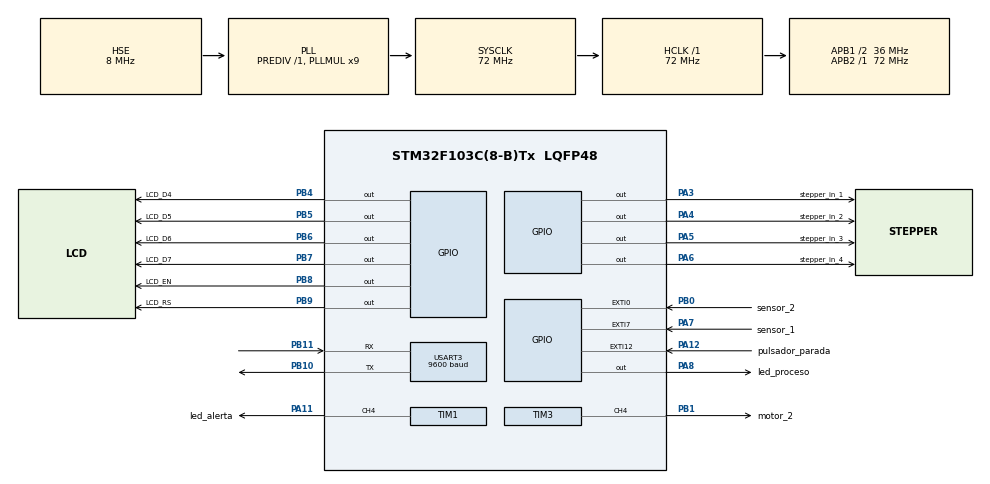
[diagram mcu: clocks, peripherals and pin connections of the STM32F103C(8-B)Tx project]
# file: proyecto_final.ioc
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Mcu.Family=STM32F1
Mcu.Name=STM32F103C(8-B)Tx
Mcu.Package=LQFP48
NVIC.EXTI0_IRQn=true\:0\:0\:false\:false\:true\:true\:true\:true
NVIC.EXTI15_10_IRQn=true\:0\:0\:false\:false\:true\:true\:true\:true
NVIC.EXTI9_5_IRQn=true\:1\:0\:true\:false\:true\:true\:true\:true
NVIC.PriorityGroup=NVIC_PRIORITYGROUP_4
NVIC.TIM2_IRQn=true\:2\:0\:true\:false\:true\:true\:true\:true
NVIC.USART3_IRQn=true\:3\:0\:true\:false\:true\:true\:true\:true
PA11.GPIO_Label=led_alerta
PA11.Signal=S_TIM1_CH4
PA12.GPIO_Label=pulsador_parada
PA12.GPIO_ModeDefaultEXTI=GPIO_MODE_IT_RISING
PA12.GPIO_PuPd=GPIO_PULLDOWN
PA12.Signal=GPXTI12
PA13.Mode=Serial_Wire
PA13.Signal=SYS_JTMS-SWDIO
PA14.Mode=Serial_Wire
PA14.Signal=SYS_JTCK-SWCLK
PA3.GPIO_Label=stepper_in_1
PA3.Signal=GPIO_Output
PA4.GPIO_Label=stepper_in_2
PA4.Signal=GPIO_Output
PA5.GPIO_Label=stepper_in_3
PA5.Signal=GPIO_Output
PA6.GPIO_Label=stepper_in_4
PA6.Signal=GPIO_Output
PA7.GPIO_Label=sensor_1
PA7.GPIO_ModeDefaultEXTI=GPIO_MODE_IT_FALLING
PA7.GPIO_PuPd=GPIO_PULLUP
PA7.Signal=GPXTI7
PA8.GPIO_Label=led_proceso
PA8.Signal=GPIO_Output
PB0.GPIO_Label=sensor_2
PB0.GPIO_ModeDefaultEXTI=GPIO_MODE_IT_FALLING
PB0.GPIO_PuPd=GPIO_PULLUP
PB0.Signal=GPXTI0
PB1.GPIO_Label=motor_2
PB1.Signal=S_TIM3_CH4
PB10.Mode=Asynchronous
PB10.Signal=USART3_TX
PB11.Mode=Asynchronous
PB11.Signal=USART3_RX
PB4.GPIO_Label=LCD_D4
PB4.Signal=GPIO_Output
PB5.GPIO_Label=LCD_D5
PB5.Signal=GPIO_Output
PB6.GPIO_Label=LCD_D6
PB6.Signal=GPIO_Output
PB7.GPIO_Label=LCD_D7
PB7.Signal=GPIO_Output
PB8.GPIO_Label=LCD_EN
PB8.Signal=GPIO_Output
PB9.GPIO_Label=LCD_RS
PB9.Signal=GPIO_Output
PD0-OSC_IN.Mode=HSE-External-Oscillator
PD0-OSC_IN.Signal=RCC_OSC_IN
PD1-OSC_OUT.Mode=HSE-External-Oscillator
PD1-OSC_OUT.Signal=RCC_OSC_OUT
ProjectManager.HeapSize=0x200
ProjectManager.StackSize=0x400
ProjectManager.TargetToolchain=STM32CubeIDE
RCC.AHBFreq_Value=72000000
RCC.APB1CLKDivider=RCC_HCLK_DIV2
RCC.APB1Freq_Value=36000000
RCC.APB1TimFreq_Value=72000000
RCC.APB2Freq_Value=72000000
RCC.APB2TimFreq_Value=72000000
RCC.HCLKFreq_Value=72000000
RCC.PLLMUL=RCC_PLL_MUL9
RCC.PLLSourceVirtual=RCC_PLLSOURCE_HSE
RCC.SYSCLKFreq_VALUE=72000000
RCC.SYSCLKSource=RCC_SYSCLKSOURCE_PLLCLK
RCC.USBFreq_Value=72000000
SH.S_TIM1_CH4.0=TIM1_CH4,PWM Generation4 CH4
SH.S_TIM3_CH4.0=TIM3_CH4,PWM Generation4 CH4
TIM1.Channel-PWM\ Generation4\ CH4=TIM_CHANNEL_4
TIM1.Period=2000
TIM1.Prescaler=36000
TIM1.Pulse-PWM\ Generation4\ CH4=1000
TIM2.AutoReloadPreload=TIM_AUTORELOAD_PRELOAD_ENABLE
TIM2.Period=240
TIM2.Prescaler=3000
TIM3.Channel-PWM\ Generation4\ CH4=TIM_CHANNEL_4
TIM3.Period=65454
TIM3.Prescaler=22
USART3.BaudRate=9600
USART3.VirtualMode=VM_ASYNC
VP_TIM1_VS_ClockSourceINT.Mode=Internal
VP_TIM2_VS_ClockSourceINT.Mode=Internal
VP_TIM3_VS_ClockSourceINT.Mode=Internal
board=custom

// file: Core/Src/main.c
/* USER CODE BEGIN Header */
/**
 ******************************************************************************
 * @file           : main.c
 * @brief          : Main program body
 ******************************************************************************
 * @attention
 *
 * Copyright (c) 2024 STMicroelectronics.
 * All rights reserved.
 *
 * This software is licensed under terms that can be found in the LICENSE file
 * in the root directory of this software component.
 * If no LICENSE file comes with this software, it is provided AS-IS.
 *
 ******************************************************************************
 */
/* USER CODE END Header */
#include "main.h"
#include "tim.h"
#include "usart.h"
#include "gpio.h"

/* USER CODE BEGIN Includes */
#include "stdio.h"
#include "string.h"

#include "../../ECUAL/LCD16x2/LCD16x2.h"
#include "../../ECUAL/INT_TO_STR/INT_TO_STR.h"

#include "../../menu/menu.h"
#include "../../stepper/stepper.h"
/* USER CODE END Includes */

/* USER CODE BEGIN PV */

// ==========================================================
// Variables para UART
uint8_t RX_char = 0x00;
//\033[%dm %3d\033[m
uint8_t MSG_cajaD[] =
		"\n\033[0;31mCAJA DETECTADA:\033[0m Inicio del proceso de derivacion\r\n";

uint8_t MSG_cajaP[] =
		"\nCAJA PROCESADA: Caja detectada en el segundo sensor\r\n";
uint8_t MSG_cajaEC[] =
		"\nCAJA EN COLA: Nueva caja detectada durante el proceso\r\n";

uint8_t MSG_pulsadorP[] =
		"\nSISTEMA DETENIDO: Se pulso el interruptor de parada\r\n";

uint8_t MSG_sisMarcha[] =
		"\nEl sistema se encuentra procesando una caja, aguarde a que termine\r\n";
uint8_t MSG_opcIncorrecta[] = "\nOpcion incorrecta \r\n";

// ==========================================================
// Variables para el sistema
uint16_t contador_cajas = 0;
int pulso_stepper = 0;

uint16_t pulsos_proceso = 0;
uint16_t pulsos_caja_cola = 0;

const uint16_t PULSOS_XM = 1086;
const uint8_t D_SENSORES = 2;

// ESTADOS
// ==========================================================
enum sistema {
	detenido, pendiente, en_proceso, caja_procesada
} estado_sistema;

// ==========================================================
// Determinamos las frecuencias de los pulsos segun la configuracion del timer
// PSC = 3000
// ARR de 240 -> f = 100Hz
// ARR de 120 -> f = 200Hz
// ARR de 80 -> f = 300Hz
enum estado_motor_1 {
	parado = 0, v_baja = 240, v_media = 120, v_alta = 80
} motor_1;

// ==========================================================
// Estado del motor_2
enum estado_motor_2 {
	desviando = 4350, sin_desviar = 2625
} motor_2;

// ==========================================================
// Estado de las cajas (cola de cajas)
enum estado_cajas {
	cola_vacia, caja_en_cola
} cola_de_cajas;

// ==========================================================
// Para determinar la seleccion del usuario
enum opciones {
	none, por_iniciar, mover_barrera, baja = 100, media = 200, alta = 300
} seleccion_usuario;

/* USER CODE END PV */

void SystemClock_Config(void);

int main(void) {

	/* MCU Configuration--------------------------------------------------------*/

	/* Reset of all peripherals, Initializes the Flash interface and the Systick. */
	HAL_Init();

	/* Configure the system clock */
	SystemClock_Config();

	/* Initialize all configured peripherals */
	MX_GPIO_Init();
	MX_TIM2_Init();
	MX_TIM1_Init();
	MX_TIM3_Init();
	MX_USART3_UART_Init();
	/* USER CODE BEGIN 2 */

	// ==========================================================
	// ==========================================================
	// Inicio del LCD
	LCD_Init();
	LCD_Clear();
	LCD_msg("Cajas procesadas", 1, 0);
//	LCD_msg("0",2,0);

	// ==========================================================
	// Para evitar el salto a PeriodElapsedCallback al iniciar los temporizadores con IT
//	TIM1->SR &= ~TIM_SR_UIF_Msk;

	// ==========================================================
	// Variables de estado iniciales
	estado_sistema = detenido;
	cola_de_cajas = cola_vacia;
	motor_1 = parado;
	motor_2 = sin_desviar;
	seleccion_usuario = none;

	// Estado de la compuerta (motor_2 inicialmente sin desviar)
	TIM3->CCR1 = motor_2;
	// Podria venir por flash

	// ==========================================================
	// Lanzamos el menu por UART
	menu_seleccion(0, 0);
	// Activamos las interrupciones para recibir por UART
	HAL_UART_Receive_IT(&huart3, &RX_char, 1);

	/* USER CODE END 2 */

	/* Infinite loop */
	while (1) {

	}
}

void SystemClock_Config(void) {
	RCC_OscInitTypeDef RCC_OscInitStruct = { 0 };
	RCC_ClkInitTypeDef RCC_ClkInitStruct = { 0 };

	/** Initializes the RCC Oscillators according to the specified parameters
	 * in the RCC_OscInitTypeDef structure.
	 */
	RCC_OscInitStruct.OscillatorType = RCC_OSCILLATORTYPE_HSE;
	RCC_OscInitStruct.HSEState = RCC_HSE_ON;
	RCC_OscInitStruct.HSEPredivValue = RCC_HSE_PREDIV_DIV1;
	RCC_OscInitStruct.HSIState = RCC_HSI_ON;
	RCC_OscInitStruct.PLL.PLLState = RCC_PLL_ON;
	RCC_OscInitStruct.PLL.PLLSource = RCC_PLLSOURCE_HSE;
	RCC_OscInitStruct.PLL.PLLMUL = RCC_PLL_MUL9;
	if (HAL_RCC_OscConfig(&RCC_OscInitStruct) != HAL_OK) {
		Error_Handler();
	}

	/** Initializes the CPU, AHB and APB buses clocks
	 */
	RCC_ClkInitStruct.ClockType = RCC_CLOCKTYPE_HCLK | RCC_CLOCKTYPE_SYSCLK
			| RCC_CLOCKTYPE_PCLK1 | RCC_CLOCKTYPE_PCLK2;
	RCC_ClkInitStruct.SYSCLKSource = RCC_SYSCLKSOURCE_PLLCLK;
	RCC_ClkInitStruct.AHBCLKDivider = RCC_SYSCLK_DIV1;
	RCC_ClkInitStruct.APB1CLKDivider = RCC_HCLK_DIV2;
	RCC_ClkInitStruct.APB2CLKDivider = RCC_HCLK_DIV1;

	if (HAL_RCC_ClockConfig(&RCC_ClkInitStruct, FLASH_LATENCY_2) != HAL_OK) {
		Error_Handler();
	}
}

/* USER CODE BEGIN 4 */

// &&&&&&&&&&&&&&&&&&&&&&&&&&&&&&&&&&&&&&&&&&&&&&&&&&&&&&&&&&&&
// &&&&&&&&&&&&&&&&&& EXTI CALLBACKS &&&&&&&&&&&&&&&&&&&&&&&&&&
// &&&&&&&&&&&&&&&&&&&&&&&&&&&&&&&&&&&&&&&&&&&&&&&&&&&&&&&&&&&&
void HAL_GPIO_EXTI_Callback(uint16_t GPIO_Pin) {
	UNUSED(GPIO_Pin);

	// ==========================================================
	// SENSOR 1
	// Se detecta una caja, pero se tiene en cuenta que quizas se este procesando
	// una caja en ese momento
	if (GPIO_Pin == sensor_1_Pin) {

		// Se detecto una caja, entonces se inicia el proceso de desviacion
		if (estado_sistema == pendiente) {
			estado_sistema = en_proceso;

			// Se inicia el contador de pulsos
			pulsos_proceso = 0;

			// Se indica con el led de proceso
			HAL_GPIO_WritePin(led_proceso_GPIO_Port, led_proceso_Pin, 1);

			// Se transmite por UART
			HAL_UART_Transmit(&huart3, MSG_cajaD, sizeof(MSG_cajaD), 100);

		}

		// En el caso de que una caja se este procesando, entonces se coloca
		// una caja en cola
		if (estado_sistema == en_proceso && motor_2 == desviando
				&& pulsos_proceso > (int) PULSOS_XM / 10) {
			cola_de_cajas = caja_en_cola;
		}

	}

	// ==========================================================
	// SENSOR 2
	// La caja fue derivada/procesada correctamente
	if (GPIO_Pin == sensor_2_Pin && estado_sistema == en_proceso
			&& motor_2 == desviando) {
		estado_sistema = caja_procesada;
		contador_cajas++;

		// Cambio del numero de cajas procesadas
		LCD_msg("", 2, 0);
		char aux[12];
		int_to_str((int) contador_cajas, aux);
		LCD_msg(aux, 2, 0);

		// Se comunica a traves de uart
		HAL_UART_Transmit(&huart3, MSG_cajaP, sizeof(MSG_cajaP), 100);

	}

	// ==========================================================
	// PULSADOR DE PARADA
	// Se usa para interrumpir y detener al sistema
	if (GPIO_Pin == pulsador_parada_Pin && estado_sistema != detenido) {
		estado_sistema = detenido;
		seleccion_usuario = none;

		// Detenemos motor_1 y motor_2
		HAL_TIM_Base_Stop_IT(&htim2);
		stop_stepper();
		HAL_TIM_PWM_Stop(&htim3, TIM_CHANNEL_4);

		// Mostramos menu de inicio
		HAL_UART_Transmit(&huart3, MSG_pulsadorP, sizeof(MSG_pulsadorP), 100);
		menu_seleccion(0, 0);
	}

}
// ---------------------------------------------------------------------------------------
// &&&&&&&&&&&&&&&&&&&&&&&&&&&&&&&&&&&&&&&&&&&&&&&&&&&&&&&&&&&&&&&&&
// &&&&&&&&&&&&&& PeriodElapsed CALLBACKS &&&&&&&&&&&&&&&&&&&&&&&&&&
// &&&&&&&&&&&&&&&&&&&&&&&&&&&&&&&&&&&&&&&&&&&&&&&&&&&&&&&&&&&&&&&&&
void HAL_TIM_PeriodElapsedCallback(TIM_HandleTypeDef *htim) {
	UNUSED(htim);

	// ==========================================================
	// Movimiento de motor_1
	if (htim == &htim2) {

		init_stepper(pulso_stepper, (int) 1);

		// El pulso del stepper toma valores entre 0 y 3
		pulso_stepper++;
		if (pulso_stepper >= 4) {
			pulso_stepper = 0;
		}

		if (estado_sistema == en_proceso || estado_sistema == caja_procesada
				|| cola_de_cajas == caja_en_cola) {

			pulsos_proceso++;
			// Segundo contador de pulsos para la caja en cola
			if (cola_de_cajas == caja_en_cola) {
				pulsos_caja_cola++;
			}

			// Movimiento de motor_2 a la mitad del trayecto
			if ((pulsos_proceso >= (uint16_t) ((PULSOS_XM * D_SENSORES) / 2))
					&& estado_sistema == en_proceso) {

				motor_2 = desviando;
				TIM3->CCR4 = motor_2;
			}

			// ~~~~~~~~~~~~~~~~~~~~~~~~~~~~~~~~~~~~~~~~~~~~~~
			// La caja deberia haber alcanzado el segundo sensor
			if (pulsos_proceso >= (PULSOS_XM * D_SENSORES)) {

				// En caso de no haber detectado la segunda caja
				//  -> Se enciende el led de alerta
				//	-> Se para motor_1
				// 	-> Se avisa por sistema
				if (estado_sistema != caja_procesada) {
					estado_sistema = detenido;
					seleccion_usuario = none;

					// Se posiciona nuevamente y motor_2
					motor_2 = desviando;
					TIM2->CCR4 = motor_2;

					// Se detiene motor_1 y motor_2
					HAL_TIM_Base_Stop_IT(&htim2);
					stop_stepper();
					HAL_TIM_PWM_Stop(&htim3, TIM_CHANNEL_4);

					// Se enciende el led de alerta y apaga el de proceso
					HAL_TIM_PWM_Start(&htim1, TIM_CHANNEL_4);
					HAL_GPIO_WritePin(led_proceso_GPIO_Port, led_proceso_Pin,
							0);

					// Se reinicia el menu por UART
					menu_seleccion(4, 0);
					return;
				}

				// Si habia una caja en cola, entonces movemos la cantidad de pulsos
				// contados de la caja en cola al proceso general
				if (cola_de_cajas == caja_en_cola) {
					cola_de_cajas = cola_vacia;
					estado_sistema = en_proceso;

					pulsos_proceso = pulsos_caja_cola;
					pulsos_caja_cola = 0;
					return;
				}

				// Finalmente si era una sola caja y fue procesada,
				// se coloca la barrera nuevamente a sin_desviar
				motor_2 = sin_desviar;
				TIM3->CCR4 = motor_2;

				// Se apaga el led de proceso
				HAL_GPIO_WritePin(led_proceso_GPIO_Port, led_proceso_Pin, 0);

				// Y se cambia al estado pendiente
				estado_sistema = pendiente;

			}
		}

	}

}
// ---------------------------------------------------------------------------------------

// &&&&&&&&&&&&&&&&&&&&&&&&&&&&&&&&&&&&&&&&&&&&&&&&&&&&&&&&&&&&
// &&&&&&&&&&&&&&&&&& UART CALLBACK &&&&&&&&&&&&&&&&&&&&&&&&&&
// &&&&&&&&&&&&&&&&&&&&&&&&&&&&&&&&&&&&&&&&&&&&&&&&&&&&&&&&&&&&
void HAL_UART_RxCpltCallback(UART_HandleTypeDef *huart) {
	UNUSED(huart);

	// ==========================================================
	// El sistema esta detenido, las opciones que se manejan son
	// 1. Iniciar
	// 2. Cambiar posicion de barrera
	if (seleccion_usuario == none && estado_sistema == detenido) {

		// Si esta encendido el led de alerta lo apagamos
		if (htim1.ChannelState[3] == HAL_TIM_CHANNEL_STATE_BUSY) {
			HAL_TIM_PWM_Stop(&htim1, TIM_CHANNEL_4);
		}

		if (RX_char == '1') {
			seleccion_usuario = por_iniciar;
			menu_seleccion(1, 0);
		} else if (RX_char == '2') {
			seleccion_usuario = mover_barrera;
			menu_seleccion(2, 0);
		} else {
			HAL_UART_Transmit(&huart3, MSG_opcIncorrecta,
					sizeof(MSG_opcIncorrecta), 100);
		}

		RX_char = 0x00;
		HAL_UART_Receive_IT(&huart3, &RX_char, 1);
		return;
	}

	// ==========================================================
	// El usuario va a seleccionar una velocidad de inicio / Se inicia el sistema
	if (seleccion_usuario == por_iniciar) {
		if (RX_char == '1') {
			seleccion_usuario = baja;
			motor_1 = v_baja;
		} else if (RX_char == '2') {
			seleccion_usuario = media;
			motor_1 = v_media;
		} else if (RX_char == '3') {
			seleccion_usuario = alta;
			motor_1 = v_alta;
		} else {
			HAL_UART_Transmit(&huart3, MSG_opcIncorrecta,
					sizeof(MSG_opcIncorrecta), 100);

			RX_char = 0x00;
			HAL_UART_Receive_IT(&huart3, &RX_char, 1);
			return;
		}

		// Menu -> sistema en marcha
		menu_seleccion(3, 0);
		// Set de estados
		estado_sistema = pendiente;

		// Iniciamos motor_1 y motor_2
		TIM2->ARR = motor_1;
		if (htim2.State != HAL_TIM_STATE_BUSY)
			HAL_TIM_Base_Start_IT(&htim2);
		HAL_TIM_PWM_Start(&htim3, TIM_CHANNEL_4);

		RX_char = 0x00;
		HAL_UART_Receive_IT(&huart3, &RX_char, 1);
		return;

	}

	// ==========================================================
	// Con el sistema en marcha solo se pueden hacer dos cosas, siempre
	// y cuando el sistema se encuentre en estado de pendiente
	// 0. Detener el sistema
	// 1. Cambiar velocidad
	if (estado_sistema == pendiente) {

		if (RX_char == '0') {
			estado_sistema = detenido;
			motor_1 = parado;
			seleccion_usuario = none;

			// Paramos a motor_1 y motor_2
			HAL_TIM_Base_Stop_IT(&htim2);
			stop_stepper();
			HAL_TIM_PWM_Stop(&htim3, TIM_CHANNEL_4);

			// Mostramos menu de inicio
			menu_seleccion(0, 0);

		} else if (RX_char == '1') {
			seleccion_usuario = por_iniciar;
			menu_seleccion(1, (int) seleccion_usuario);

		} else {
			HAL_UART_Transmit(&huart3, MSG_opcIncorrecta,
					sizeof(MSG_opcIncorrecta), 100);
		}

		RX_char = 0x00;
		HAL_UART_Receive_IT(&huart3, &RX_char, 1);
		return;

	} else if (estado_sistema != pendiente && estado_sistema != detenido) {
		// El sistema esta en marcha pero procesando una caja, entonces
		// hay que esperar a que el proceso termine
		HAL_UART_Transmit(&huart3, MSG_sisMarcha, sizeof(MSG_sisMarcha), 100);

		RX_char = 0x00;
		HAL_UART_Receive_IT(&huart3, &RX_char, 1);
		return;
	}

	// ==========================================================
	// Con el sistema detenido, el usuario puede decidir la posicion inicial
	// de la barrera
	// 1. Desviando
	// 2. Sin desviar
	if (seleccion_usuario == mover_barrera && estado_sistema == detenido) {

		if (RX_char == '1') {
			motor_2 = desviando;
		} else if (RX_char == '2') {
			motor_2 = sin_desviar;
		} else {
			HAL_UART_Transmit(&huart3, MSG_opcIncorrecta,
					sizeof(MSG_opcIncorrecta), 100);

			RX_char = 0x00;
			HAL_UART_Receive_IT(&huart3, &RX_char, 1);
			return;
		}

		// Posicionamos la barrera
		TIM3->CCR4 = motor_2;
		HAL_TIM_PWM_Start(&htim3, TIM_CHANNEL_4);

		// Seteamos menu y estado de seleccion
		seleccion_usuario = none;
		menu_seleccion(0, 0);

		RX_char = 0x00;
		HAL_UART_Receive_IT(&huart3, &RX_char, 1);
		return;
	}

	RX_char = 0x00;
	HAL_UART_Receive_IT(&huart3, &RX_char, 1);
	return;

}

/* USER CODE END 4 */

void Error_Handler(void) {
	__disable_irq();
	while (1) {
	}
}
